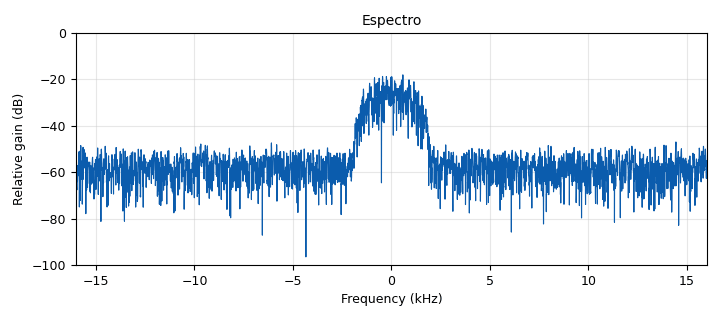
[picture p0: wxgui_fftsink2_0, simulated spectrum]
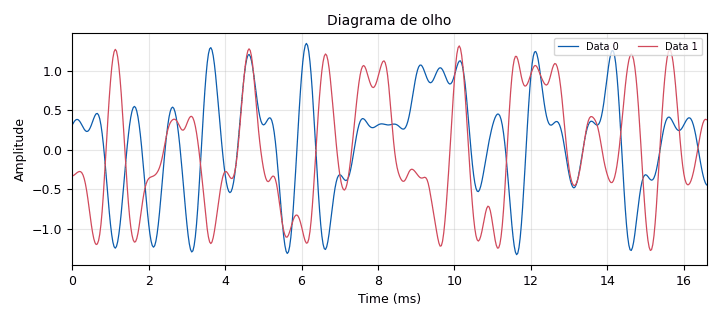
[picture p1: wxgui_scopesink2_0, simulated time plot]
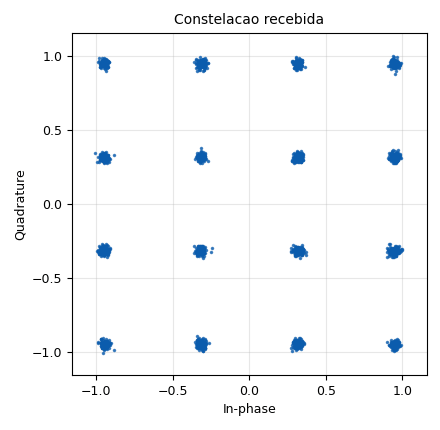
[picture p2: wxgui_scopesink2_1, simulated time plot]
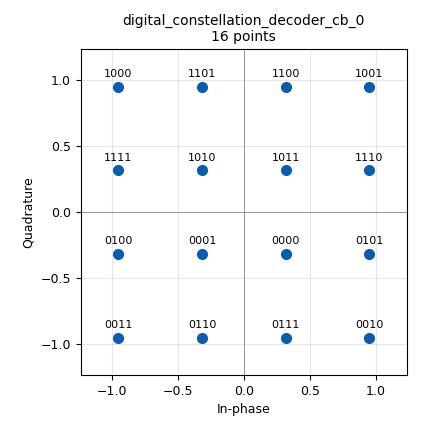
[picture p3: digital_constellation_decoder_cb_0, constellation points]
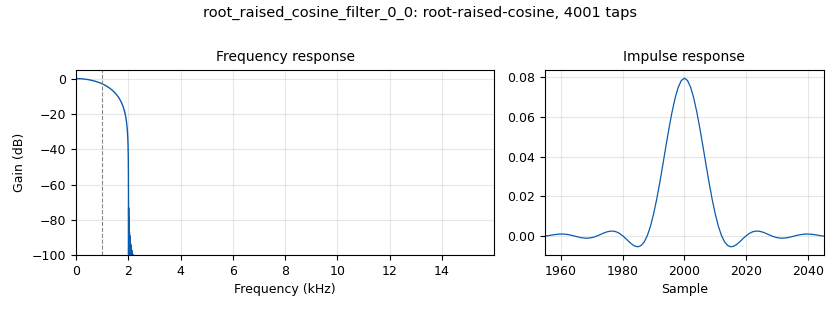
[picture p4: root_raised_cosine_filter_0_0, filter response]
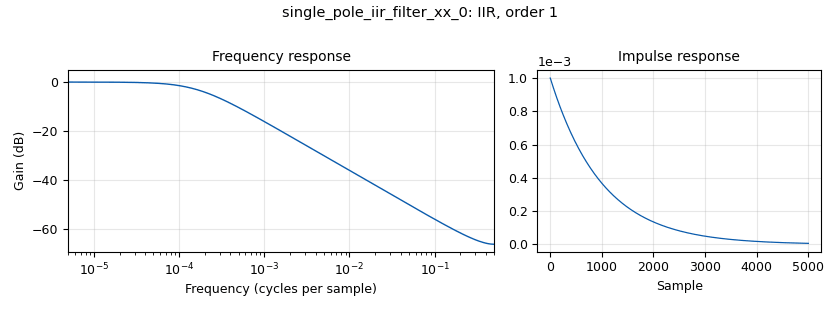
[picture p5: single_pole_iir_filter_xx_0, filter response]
<?xml version='1.0' encoding='utf-8'?>
<?grc format='1' created='3.7.11'?>
<flow_graph>
<block>
<key>options</key>
<param><key>id</key><value>Labo5_4</value></param>
<param><key>generate_options</key><value>wx_gui</value></param>
</block>
<block>
<key>variable</key>
<param><key>id</key><value>RRCrolloff</value></param>
<param><key>value</key><value>1</value></param>
</block>
<block>
<key>variable</key>
<param><key>id</key><value>bitsPerSymbol</value></param>
<param><key>value</key><value>2</value></param>
</block>
<block>
<key>variable_constellation</key>
<param><key>id</key><value>modQAM_constellationObj</value></param>
<param><key>type</key><value>16qam</value></param>
<param><key>precision</key><value>8</value></param>
</block>
<block>
<key>variable_slider</key>
<param><key>id</key><value>noiseAmp</value></param>
<param><key>converver</key><value>float_converter</value></param>
<param><key>value</key><value>0.1</value></param>
<param><key>label</key><value>noiseAmp</value></param>
<param><key>max</key><value>2</value></param>
<param><key>min</key><value>0</value></param>
<param><key>num_steps</key><value>1000</value></param>
<param><key>style</key><value>wx.SL_HORIZONTAL</value></param>
</block>
<block>
<key>variable</key>
<param><key>id</key><value>samp_rate</value></param>
<param><key>value</key><value>32000</value></param>
</block>
<block>
<key>variable</key>
<param><key>id</key><value>sps</value></param>
<param><key>value</key><value>16</value></param>
</block>
<block>
<key>analog_noise_source_x</key>
<param><key>id</key><value>analog_noise_source_x_0</value></param>
<param><key>amp</key><value>noiseAmp</value></param>
<param><key>noise_type</key><value>analog.GR_GAUSSIAN</value></param>
<param><key>type</key><value>complex</value></param>
<param><key>seed</key><value>0</value></param>
</block>
<block>
<key>analog_random_source_x</key>
<param><key>id</key><value>analog_random_source_x_1</value></param>
<param><key>max</key><value>255</value></param>
<param><key>min</key><value>0</value></param>
<param><key>num_samps</key><value>10000</value></param>
<param><key>type</key><value>byte</value></param>
<param><key>repeat</key><value>True</value></param>
</block>
<block>
<key>blks2_error_rate</key>
<param><key>id</key><value>blks2_error_rate_0</value></param>
<param><key>bits_per_symbol</key><value>bitsPerSymbol</value></param>
<param><key>type</key><value>'BER'</value></param>
<param><key>win_size</key><value>10000</value></param>
</block>
<block>
<key>blocks_add_xx</key>
<param><key>id</key><value>blocks_add_xx_0</value></param>
<param><key>type</key><value>complex</value></param>
</block>
<block>
<key>blocks_complex_to_mag_squared</key>
<param><key>id</key><value>blocks_complex_to_mag_squared_2</value></param>
</block>
<block>
<key>blocks_complex_to_mag_squared</key>
<param><key>id</key><value>blocks_complex_to_mag_squared_2_0</value></param>
</block>
<block>
<key>blocks_complex_to_real</key>
<param><key>id</key><value>blocks_complex_to_real_0</value></param>
</block>
<block>
<key>blocks_complex_to_real</key>
<param><key>id</key><value>blocks_complex_to_real_0_0</value></param>
</block>
<block>
<key>blocks_multiply_const_vxx</key>
<param><key>id</key><value>blocks_multiply_const_vxx_0</value></param>
<param><key>const</key><value>bitsPerSymbol</value></param>
<param><key>type</key><value>float</value></param>
</block>
<block>
<key>blocks_nlog10_ff</key>
<param><key>id</key><value>blocks_nlog10_ff_0_0</value></param>
<param><key>k</key><value>0</value></param>
<param><key>n</key><value>10</value></param>
</block>
<block>
<key>blocks_nlog10_ff</key>
<param><key>id</key><value>blocks_nlog10_ff_0_1</value></param>
<param><key>k</key><value>0</value></param>
<param><key>n</key><value>10</value></param>
</block>
<block>
<key>blocks_sub_xx</key>
<param><key>id</key><value>blocks_sub_xx_0</value></param>
<param><key>type</key><value>float</value></param>
</block>
<block>
<key>blocks_throttle</key>
<param><key>id</key><value>blocks_throttle_0</value></param>
<param><key>samples_per_second</key><value>samp_rate</value></param>
<param><key>type</key><value>complex</value></param>
</block>
<block>
<key>digital_constellation_decoder_cb</key>
<param><key>id</key><value>digital_constellation_decoder_cb_0</value></param>
<param><key>constellation</key><value>modQAM_constellationObj</value></param>
</block>
<block>
<key>digital_constellation_decoder_cb</key>
<param><key>id</key><value>digital_constellation_decoder_cb_0_0</value></param>
<param><key>constellation</key><value>modQAM_constellationObj</value></param>
</block>
<block>
<key>digital_constellation_modulator</key>
<param><key>id</key><value>digital_constellation_modulator_0</value></param>
<param><key>constellation</key><value>modQAM_constellationObj</value></param>
<param><key>differential</key><value>False</value></param>
<param><key>excess_bw</key><value>RRCrolloff</value></param>
<param><key>samples_per_symbol</key><value>sps</value></param>
</block>
<block>
<key>digital_constellation_modulator</key>
<param><key>id</key><value>digital_constellation_modulator_0_0</value></param>
<param><key>constellation</key><value>modQAM_constellationObj</value></param>
<param><key>differential</key><value>False</value></param>
<param><key>excess_bw</key><value>RRCrolloff</value></param>
<param><key>samples_per_symbol</key><value>sps</value></param>
</block>
<block>
<key>root_raised_cosine_filter</key>
<param><key>id</key><value>root_raised_cosine_filter_0_0</value></param>
<param><key>alpha</key><value>RRCrolloff</value></param>
<param><key>decim</key><value>sps</value></param>
<param><key>type</key><value>fir_filter_ccf</value></param>
<param><key>gain</key><value>1</value></param>
<param><key>interp</key><value>16</value></param>
<param><key>ntaps</key><value>4001</value></param>
<param><key>samp_rate</key><value>samp_rate</value></param>
<param><key>sym_rate</key><value>samp_rate/sps</value></param>
</block>
<block>
<key>root_raised_cosine_filter</key>
<param><key>id</key><value>root_raised_cosine_filter_0_0_0</value></param>
<param><key>alpha</key><value>RRCrolloff</value></param>
<param><key>decim</key><value>sps</value></param>
<param><key>type</key><value>fir_filter_ccf</value></param>
<param><key>gain</key><value>1</value></param>
<param><key>interp</key><value>16</value></param>
<param><key>ntaps</key><value>4001</value></param>
<param><key>samp_rate</key><value>samp_rate</value></param>
<param><key>sym_rate</key><value>samp_rate/sps</value></param>
</block>
<block>
<key>root_raised_cosine_filter</key>
<param><key>id</key><value>root_raised_cosine_filter_0_0_1</value></param>
<param><key>alpha</key><value>RRCrolloff</value></param>
<param><key>decim</key><value>sps</value></param>
<param><key>type</key><value>interp_fir_filter_ccf</value></param>
<param><key>gain</key><value>1</value></param>
<param><key>interp</key><value>1</value></param>
<param><key>ntaps</key><value>4001</value></param>
<param><key>samp_rate</key><value>samp_rate</value></param>
<param><key>sym_rate</key><value>samp_rate/sps</value></param>
</block>
<block>
<key>root_raised_cosine_filter</key>
<param><key>id</key><value>root_raised_cosine_filter_0_0_1_0</value></param>
<param><key>alpha</key><value>RRCrolloff*4</value></param>
<param><key>decim</key><value>sps</value></param>
<param><key>type</key><value>interp_fir_filter_ccf</value></param>
<param><key>gain</key><value>1</value></param>
<param><key>interp</key><value>1</value></param>
<param><key>ntaps</key><value>4001</value></param>
<param><key>samp_rate</key><value>samp_rate</value></param>
<param><key>sym_rate</key><value>samp_rate/sps</value></param>
</block>
<block>
<key>single_pole_iir_filter_xx</key>
<param><key>id</key><value>single_pole_iir_filter_xx_0</value></param>
<param><key>alpha</key><value>0.001</value></param>
<param><key>type</key><value>float</value></param>
</block>
<block>
<key>single_pole_iir_filter_xx</key>
<param><key>id</key><value>single_pole_iir_filter_xx_0_0</value></param>
<param><key>alpha</key><value>0.001</value></param>
<param><key>type</key><value>float</value></param>
</block>
<block>
<key>wxgui_fftsink2</key>
<param><key>id</key><value>wxgui_fftsink2_0</value></param>
<param><key>avg_alpha</key><value>0</value></param>
<param><key>average</key><value>False</value></param>
<param><key>baseband_freq</key><value>0</value></param>
<param><key>fft_size</key><value>4096</value></param>
<param><key>freqvar</key><value>None</value></param>
<param><key>grid_pos</key><value>[1,3,2,2]</value></param>
<param><key>peak_hold</key><value>False</value></param>
<param><key>ref_level</key><value>0</value></param>
<param><key>ref_scale</key><value>2.0</value></param>
<param><key>fft_rate</key><value>15</value></param>
<param><key>samp_rate</key><value>samp_rate</value></param>
<param><key>title</key><value>Espectro</value></param>
<param><key>type</key><value>complex</value></param>
<param><key>win</key><value>window.blackmanharris</value></param>
<param><key>y_divs</key><value>10</value></param>
<param><key>y_per_div</key><value>10</value></param>
</block>
<block>
<key>wxgui_numbersink2</key>
<param><key>id</key><value>wxgui_numbersink2_0</value></param>
<param><key>avg_alpha</key><value>0</value></param>
<param><key>average</key><value>False</value></param>
<param><key>decimal_places</key><value>6</value></param>
<param><key>factor</key><value>1.0</value></param>
<param><key>grid_pos</key><value>[0,3,1,1]</value></param>
<param><key>max_value</key><value>1</value></param>
<param><key>min_value</key><value>0</value></param>
<param><key>number_rate</key><value>15</value></param>
<param><key>peak_hold</key><value>False</value></param>
<param><key>ref_level</key><value>0</value></param>
<param><key>samp_rate</key><value>samp_rate</value></param>
<param><key>show_gauge</key><value>True</value></param>
<param><key>title</key><value>Bit error rate (BER)</value></param>
<param><key>type</key><value>float</value></param>
<param><key>units</key><value></value></param>
</block>
<block>
<key>wxgui_numbersink2</key>
<param><key>id</key><value>wxgui_numbersink2_0_0</value></param>
<param><key>avg_alpha</key><value>0</value></param>
<param><key>average</key><value>False</value></param>
<param><key>decimal_places</key><value>2</value></param>
<param><key>factor</key><value>1.0</value></param>
<param><key>grid_pos</key><value>[0,4,1,1]</value></param>
<param><key>max_value</key><value>1</value></param>
<param><key>min_value</key><value>0</value></param>
<param><key>number_rate</key><value>15</value></param>
<param><key>peak_hold</key><value>False</value></param>
<param><key>ref_level</key><value>0</value></param>
<param><key>samp_rate</key><value>samp_rate</value></param>
<param><key>show_gauge</key><value>True</value></param>
<param><key>title</key><value>SNR por bit [EbNo] (dB)</value></param>
<param><key>type</key><value>float</value></param>
<param><key>units</key><value></value></param>
</block>
<block>
<key>wxgui_scopesink2</key>
<param><key>id</key><value>wxgui_scopesink2_0</value></param>
<param><key>ac_couple</key><value>False</value></param>
<param><key>num_inputs</key><value>2</value></param>
<param><key>samp_rate</key><value>samp_rate</value></param>
<param><key>t_scale</key><value>(sps/samp_rate)*4</value></param>
<param><key>title</key><value>Diagrama de olho</value></param>
<param><key>trig_mode</key><value>wxgui.TRIG_MODE_FREE</value></param>
<param><key>type</key><value>float</value></param>
<param><key>v_offset</key><value>0</value></param>
<param><key>v_scale</key><value>0</value></param>
<param><key>xy_mode</key><value>False</value></param>
<param><key>y_axis_label</key><value>Amplitude</value></param>
</block>
<block>
<key>wxgui_scopesink2</key>
<param><key>id</key><value>wxgui_scopesink2_1</value></param>
<param><key>ac_couple</key><value>False</value></param>
<param><key>grid_pos</key><value>[0,0,2,2]</value></param>
<param><key>num_inputs</key><value>1</value></param>
<param><key>samp_rate</key><value>samp_rate</value></param>
<param><key>t_scale</key><value>0</value></param>
<param><key>title</key><value>Constelacao recebida</value></param>
<param><key>trig_mode</key><value>wxgui.TRIG_MODE_FREE</value></param>
<param><key>type</key><value>complex</value></param>
<param><key>v_offset</key><value>0</value></param>
<param><key>v_scale</key><value>0.5</value></param>
<param><key>xy_mode</key><value>True</value></param>
<param><key>y_axis_label</key><value></value></param>
</block>
<connection><source_block_id>analog_noise_source_x_0</source_block_id><sink_block_id>blocks_add_xx_0</sink_block_id><source_key>0</source_key><sink_key>1</sink_key></connection>
<connection><source_block_id>analog_noise_source_x_0</source_block_id><sink_block_id>root_raised_cosine_filter_0_0_1</sink_block_id><source_key>0</source_key><sink_key>0</sink_key></connection>
<connection><source_block_id>analog_random_source_x_1</source_block_id><sink_block_id>digital_constellation_modulator_0</sink_block_id><source_key>0</source_key><sink_key>0</sink_key></connection>
<connection><source_block_id>analog_random_source_x_1</source_block_id><sink_block_id>digital_constellation_modulator_0_0</sink_block_id><source_key>0</source_key><sink_key>0</sink_key></connection>
<connection><source_block_id>blks2_error_rate_0</source_block_id><sink_block_id>wxgui_numbersink2_0</sink_block_id><source_key>0</source_key><sink_key>0</sink_key></connection>
<connection><source_block_id>blocks_add_xx_0</source_block_id><sink_block_id>root_raised_cosine_filter_0_0</sink_block_id><source_key>0</source_key><sink_key>0</sink_key></connection>
<connection><source_block_id>blocks_add_xx_0</source_block_id><sink_block_id>root_raised_cosine_filter_0_0_1_0</sink_block_id><source_key>0</source_key><sink_key>0</sink_key></connection>
<connection><source_block_id>blocks_add_xx_0</source_block_id><sink_block_id>wxgui_fftsink2_0</sink_block_id><source_key>0</source_key><sink_key>0</sink_key></connection>
<connection><source_block_id>blocks_complex_to_mag_squared_2</source_block_id><sink_block_id>single_pole_iir_filter_xx_0</sink_block_id><source_key>0</source_key><sink_key>0</sink_key></connection>
<connection><source_block_id>blocks_complex_to_mag_squared_2_0</source_block_id><sink_block_id>single_pole_iir_filter_xx_0_0</sink_block_id><source_key>0</source_key><sink_key>0</sink_key></connection>
<connection><source_block_id>blocks_complex_to_real_0</source_block_id><sink_block_id>wxgui_scopesink2_0</sink_block_id><source_key>0</source_key><sink_key>0</sink_key></connection>
<connection><source_block_id>blocks_complex_to_real_0_0</source_block_id><sink_block_id>wxgui_scopesink2_0</sink_block_id><source_key>0</source_key><sink_key>1</sink_key></connection>
<connection><source_block_id>blocks_multiply_const_vxx_0</source_block_id><sink_block_id>blocks_nlog10_ff_0_0</sink_block_id><source_key>0</source_key><sink_key>0</sink_key></connection>
<connection><source_block_id>blocks_nlog10_ff_0_0</source_block_id><sink_block_id>blocks_sub_xx_0</sink_block_id><source_key>0</source_key><sink_key>1</sink_key></connection>
<connection><source_block_id>blocks_nlog10_ff_0_1</source_block_id><sink_block_id>blocks_sub_xx_0</sink_block_id><source_key>0</source_key><sink_key>0</sink_key></connection>
<connection><source_block_id>blocks_sub_xx_0</source_block_id><sink_block_id>wxgui_numbersink2_0_0</sink_block_id><source_key>0</source_key><sink_key>0</sink_key></connection>
<connection><source_block_id>blocks_throttle_0</source_block_id><sink_block_id>blocks_complex_to_real_0</sink_block_id><source_key>0</source_key><sink_key>0</sink_key></connection>
<connection><source_block_id>digital_constellation_decoder_cb_0</source_block_id><sink_block_id>blks2_error_rate_0</sink_block_id><source_key>0</source_key><sink_key>1</sink_key></connection>
<connection><source_block_id>digital_constellation_decoder_cb_0_0</source_block_id><sink_block_id>blks2_error_rate_0</sink_block_id><source_key>0</source_key><sink_key>0</sink_key></connection>
<connection><source_block_id>digital_constellation_modulator_0</source_block_id><sink_block_id>blocks_add_xx_0</sink_block_id><source_key>0</source_key><sink_key>0</sink_key></connection>
<connection><source_block_id>digital_constellation_modulator_0</source_block_id><sink_block_id>blocks_complex_to_mag_squared_2_0</sink_block_id><source_key>0</source_key><sink_key>0</sink_key></connection>
<connection><source_block_id>digital_constellation_modulator_0</source_block_id><sink_block_id>blocks_throttle_0</sink_block_id><source_key>0</source_key><sink_key>0</sink_key></connection>
<connection><source_block_id>digital_constellation_modulator_0_0</source_block_id><sink_block_id>root_raised_cosine_filter_0_0_0</sink_block_id><source_key>0</source_key><sink_key>0</sink_key></connection>
<connection><source_block_id>root_raised_cosine_filter_0_0</source_block_id><sink_block_id>digital_constellation_decoder_cb_0</sink_block_id><source_key>0</source_key><sink_key>0</sink_key></connection>
<connection><source_block_id>root_raised_cosine_filter_0_0</source_block_id><sink_block_id>wxgui_scopesink2_1</sink_block_id><source_key>0</source_key><sink_key>0</sink_key></connection>
<connection><source_block_id>root_raised_cosine_filter_0_0_0</source_block_id><sink_block_id>digital_constellation_decoder_cb_0_0</sink_block_id><source_key>0</source_key><sink_key>0</sink_key></connection>
<connection><source_block_id>root_raised_cosine_filter_0_0_1</source_block_id><sink_block_id>blocks_complex_to_mag_squared_2</sink_block_id><source_key>0</source_key><sink_key>0</sink_key></connection>
<connection><source_block_id>root_raised_cosine_filter_0_0_1_0</source_block_id><sink_block_id>blocks_complex_to_real_0_0</sink_block_id><source_key>0</source_key><sink_key>0</sink_key></connection>
<connection><source_block_id>single_pole_iir_filter_xx_0</source_block_id><sink_block_id>blocks_multiply_const_vxx_0</sink_block_id><source_key>0</source_key><sink_key>0</sink_key></connection>
<connection><source_block_id>single_pole_iir_filter_xx_0_0</source_block_id><sink_block_id>blocks_nlog10_ff_0_1</sink_block_id><source_key>0</source_key><sink_key>0</sink_key></connection>
</flow_graph>
